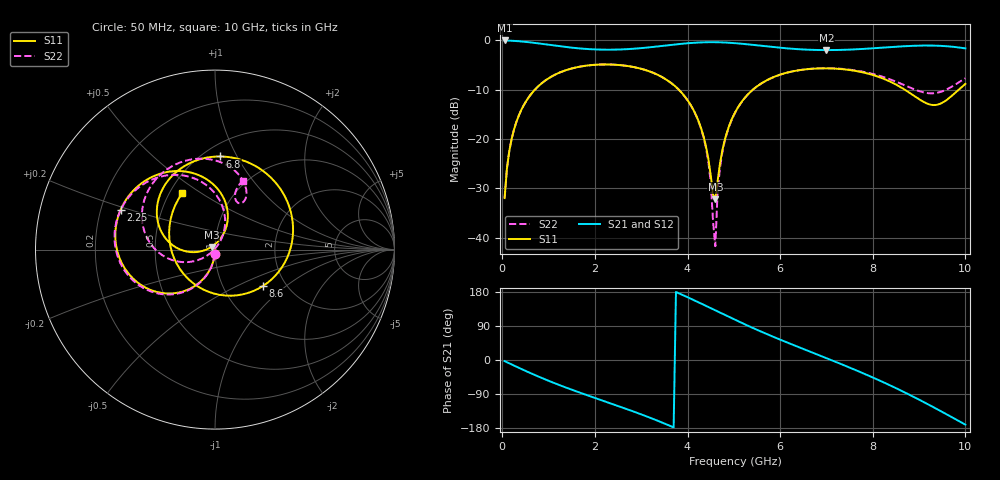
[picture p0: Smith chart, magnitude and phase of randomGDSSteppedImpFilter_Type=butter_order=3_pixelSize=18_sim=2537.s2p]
! freq	dB(S11)	phase(S11)	dB(S12)	phase(S12)
!  dB(S21)	phase(S21)	dB(S22)	phase(S22)
!S-par simulation data
#  GHz  S  DB  R 50
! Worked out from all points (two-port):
!   200 points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, 50 MHz to 10 GHz, reference 50 ohm
!   highest |S21| = -0.01 dB at 50 MHz (marker M1); lowest = -2.0 dB at 7 GHz (marker M2)
!   |S21| within 3 dB of the highest: start of sweep to end of sweep
!   lowest |S11| = -32.2 dB at 4.6 GHz (marker M3), VSWR 1.05, Z = 48.1 + j1.47 ohm
!   |S11| at or under -10 dB: start of sweep to 702.6 MHz; 3.812 GHz to 5.41 GHz (1.598 GHz wide, 34.6 % of centre); 8.693 GHz to 9.854 GHz (1.162 GHz wide, 12.5 % of centre)
!   |S22| runs from -41.7 to -4.9 dB; largest |S21 - S12| = 0
!   S11 on the Smith chart (normalised r, x): 50 MHz: 1.00, -0.05; 2.25 GHz: 0.28, +0.19; 6.8 GHz: 0.60, +0.86; 8.6 GHz: 1.54, -0.70; 10 GHz: 0.58, +0.42
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0.05  -31.98 -93.1  -0.01 -2.9  -0.01 -2.9  -31.98 -93.1
0.2  -20.05 -102.3  -0.06 -11.7  -0.06 -11.7  -20.05 -102.0
0.5  -12.54 -119.6  -0.29 -28.6  -0.29 -28.6  -12.54 -118.8
1.05  -7.39 -148.6  -0.95 -57.4  -0.95 -57.4  -7.39 -147.0
1.75  -5.20 178.7  -1.69 -89.4  -1.69 -89.4  -5.20 -178.4
2.25  -4.87 157.0  -1.88 -110.7  -1.88 -110.7  -4.86 160.8
3.4  -7.18 104.9  -1.17 -162.5  -1.17 -162.5  -7.18 110.8
4.3  -18.01 62.5  -0.40 148.5  -0.40 148.5  -18.14 65.0
4.45  -24.04 64.6  -0.36 139.8  -0.36 139.8  -24.64 58.4
4.6  -32.19 141.6  -0.36 130.9  -0.36 130.9  -41.73 -158.9
4.65  -28.51 172.0  -0.37 128.0  -0.37 128.0  -30.62 -142.5
4.7  -25.02 -177.0  -0.38 125.0  -0.38 125.0  -25.84 -142.5
5.05  -14.19 179.7  -0.57 104.7  -0.57 104.7  -14.25 -158.9
5.8  -7.67 140.4  -1.30 63.9  -1.30 63.9  -7.68 164.1
6.7  -5.74 92.2  -1.91 19.4  -1.91 19.4  -5.72 125.3
6.8  -5.69 86.7  -1.94 14.5  -1.94 14.5  -5.67 121.3
7  -5.66 75.6  -1.96 4.8  -1.96 4.8  -5.63 113.4
7.75  -6.41 30.2  -1.75 -32.8  -1.75 -32.8  -6.28 85.3
8.35  -8.24 -14.2  -1.37 -65.5  -1.37 -65.5  -7.82 66.6
8.6  -9.47 -36.9  -1.22 -80.1  -1.22 -80.1  -8.74 61.3
9.25  -13.04 -123.7  -1.04 -120.6  -1.04 -120.6  -10.73 63.2
10  -8.81 120.5  -1.62 -170.6  -1.62 -170.6  -7.66 68.0
